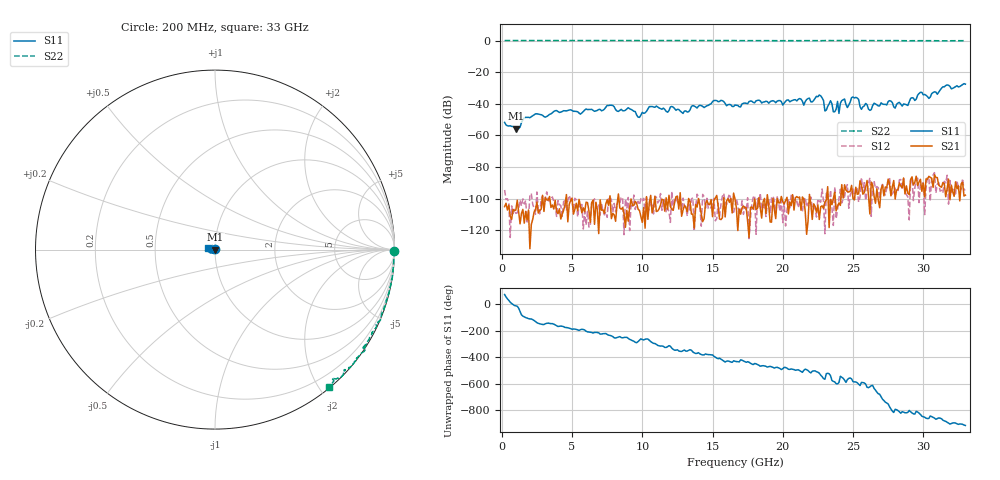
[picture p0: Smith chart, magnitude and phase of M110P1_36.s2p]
# GHZ S RI R 50
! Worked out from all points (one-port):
!   329 points, 200 MHz to 33 GHz, reference 50 ohm
!   lowest |S11| = -55.7 dB at 1 GHz (marker M1), VSWR 1.00, Z = 50.2 - j0.0329 ohm
!   |S11| at or under -10 dB: start of sweep to end of sweep
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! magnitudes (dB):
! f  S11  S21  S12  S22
! 200 MHz  -51.7  -105.0  -94.4  0.0
! 1 GHz  -55.7  -107.1  -109.2  0.0
! 2.4 GHz  -46.3  -106.8  -109.8  0.0
! 5.7 GHz  -45.7  -108.8  -103.6  0.0
! 7.8 GHz  -40.9  -112.5  -100.6  0.0
! 9.8 GHz  -48.5  -107.4  -104.0  0.0
! 11.2 GHz  -42.6  -106.3  -101.1  0.0
! 16.6 GHz  -40.8  -100.2  -105.0  0.0
! 22.1 GHz  -38.8  -113.0  -105.8  0.0
! 22.6 GHz  -34.4  -113.1  -101.6  -0.1
! 23 GHz  -44.5  -102.1  -122.1  0.0
! 23.4 GHz  -38.0  -100.4  -94.5  -0.1
! 23.7 GHz  -45.0  -95.8  -92.6  0.0
! 23.9 GHz  -38.4  -104.7  -106.9  0.0
! 24 GHz  -46.0  -102.6  -99.9  0.1
! 24.4 GHz  -37.0  -91.1  -98.7  0.0
! 26.2 GHz  -44.1  -109.6  -86.6  0.0
! 27.6 GHz  -38.0  -90.6  -86.5  0.0
! 28.9 GHz  -41.0  -96.5  -98.8  -0.1
! 29.8 GHz  -32.7  -87.7  -90.1  -0.1
! 30.4 GHz  -36.6  -85.8  -86.7  0.0
! 33 GHz  -27.6  -97.7  -94.3  -0.1
